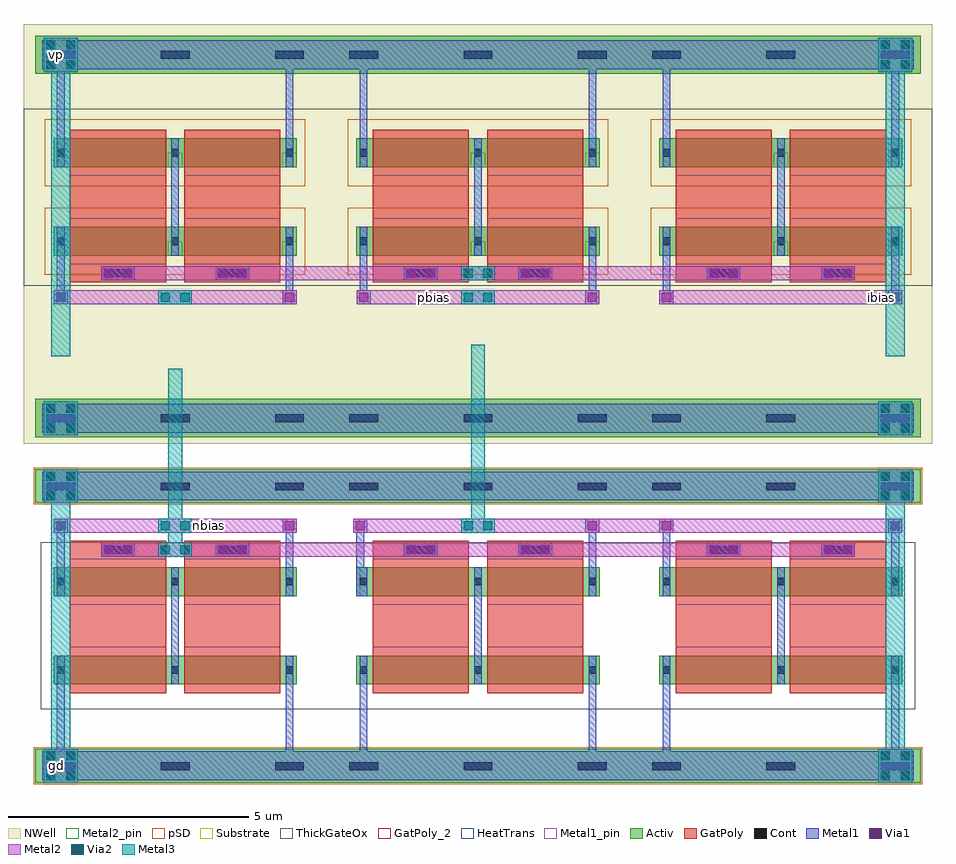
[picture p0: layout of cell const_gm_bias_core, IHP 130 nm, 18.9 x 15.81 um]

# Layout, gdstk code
import gdstk
lib = gdstk.Library(unit=1e-6, precision=1e-09)
def R(c, l, rs):  # rectangles x0, y0, x1, y1
    for r in rs: c.add(gdstk.rectangle(r[:2], r[2:], *l))
def A(c, l, x, y, w, h, nx, ny, dx, dy):  # array of equal rectangles
    R(c, l, [(x+i*dx, y+j*dy, x+i*dx+w, y+j*dy+h) for i in range(nx) for j in range(ny)])
Activ = (1, 0)
GatPoly = (5, 0)
GatPoly_2 = (5, 2)
Cont = (6, 0)
Metal1 = (8, 0)
Metal1_pin = (8, 2)
Metal2 = (10, 0)
Metal2_pin = (10, 2)
pSD = (14, 0)
Via1 = (19, 0)
Via2 = (29, 0)
Metal3 = (30, 0)
NWell = (31, 0)
Substrate = (40, 0)
ThickGateOx = (44, 0)
HeatTrans = (51, 0)

pmoshv_6 = lib.new_cell('pmosHV$6')
R(pmoshv_6, Activ, [(0,0,0.3,0.3), (0,0,2.68,0.6), (2.38,0,2.68,0.3)])
R(pmoshv_6, GatPoly, [(0.34,-0.18,2.34,0.78)])
R(pmoshv_6, GatPoly_2, [(0.34,-0.18,2.34,0.78)])
R(pmoshv_6, Cont, [(0.07,0.22,0.23,0.38), (2.45,0.22,2.61,0.38)])
R(pmoshv_6, Metal1, [(0.07,0,0.23,0.6), (2.45,0,2.61,0.6)])
R(pmoshv_6, Metal1_pin, [(0.07,0,0.23,0.6), (2.45,0,2.61,0.6)])
R(pmoshv_6, pSD, [(-0.18,-0.4,2.86,1)])
R(pmoshv_6, NWell, [(-0.62,-0.62,3.3,1.22)])
R(pmoshv_6, Substrate, [(2.38,0,2.68,0.3)])
R(pmoshv_6, ThickGateOx, [(-0.62,-0.62,3.3,1.22)])
R(pmoshv_6, HeatTrans, [(0.34,-0.18,2.34,0.78)])
pmoshv_6.add(gdstk.Label('pmosHV', (1.34,0.3), layer=63, texttype=0))
pmoshv_6.add(gdstk.Label('pmos', (1.34,0.3), layer=51, texttype=0))

nmoshv_6 = lib.new_cell('nmosHV$6')
R(nmoshv_6, Activ, [(0,0,0.3,0.3), (0,0,2.68,0.6), (2.38,0,2.68,0.3)])
R(nmoshv_6, GatPoly, [(0.34,-0.18,2.34,0.78)])
R(nmoshv_6, GatPoly_2, [(0.34,-0.18,2.34,0.78)])
R(nmoshv_6, Cont, [(0.07,0.22,0.23,0.38), (2.45,0.22,2.61,0.38)])
R(nmoshv_6, Metal1, [(0.07,0,0.23,0.6), (2.45,0,2.61,0.6)])
R(nmoshv_6, Metal1_pin, [(0.07,0,0.23,0.6), (2.45,0,2.61,0.6)])
R(nmoshv_6, ThickGateOx, [(-0.27,-0.52,2.95,1.12)])
R(nmoshv_6, HeatTrans, [(0.34,-0.18,2.34,0.78)])
nmoshv_6.add(gdstk.Label('nmosHV', (1.34,0.3), layer=63, texttype=0))
nmoshv_6.add(gdstk.Label('nmosHV', (1.34,0.3), layer=51, texttype=0))

via_stack = lib.new_cell('via_stack')
R(via_stack, Metal1, [(-0.35,-0.145,0.35,0.145)])
R(via_stack, Metal2, [(-0.35,-0.145,0.35,0.145)])
R(via_stack, Via1, [(-0.3,-0.095,-0.11,0.095), (0.11,-0.095,0.3,0.095)])

via_stack_1 = lib.new_cell('via_stack$1')
R(via_stack_1, Metal1, [(-0.145,-0.145,0.145,0.145)])
R(via_stack_1, Metal2, [(-0.145,-0.145,0.145,0.145)])
R(via_stack_1, Via1, [(-0.095,-0.095,0.095,0.095)])

via_stack_2 = lib.new_cell('via_stack$2')
R(via_stack_2, Metal2, [(-0.35,-0.145,0.35,0.145)])
R(via_stack_2, Via2, [(-0.3,-0.095,-0.11,0.095), (0.11,-0.095,0.3,0.095)])
R(via_stack_2, Metal3, [(-0.35,-0.145,0.35,0.145)])

via_stack_4 = lib.new_cell('via_stack$4')
R(via_stack_4, Metal1, [(-0.35,-0.35,0.35,0.35)])
R(via_stack_4, Metal2, [(-0.35,-0.35,0.35,0.35)])
R(via_stack_4, Via1, [(-0.3,-0.3,-0.11,-0.11), (0.11,-0.3,0.3,-0.11), (-0.3,0.11,-0.11,0.3), (0.11,0.11,0.3,0.3)])
R(via_stack_4, Via2, [(-0.3,-0.3,-0.11,-0.11), (0.11,-0.3,0.3,-0.11), (-0.3,0.11,-0.11,0.3), (0.11,0.11,0.3,0.3)])
R(via_stack_4, Metal3, [(-0.35,-0.35,0.35,0.35)])

const_gm_bias_core = lib.new_cell('const_gm_bias_core')
A(const_gm_bias_core, Cont, 0.47, -1.33, 0.6, 0.16, 3, 2, 2.38, 5.82)
A(const_gm_bias_core, Cont, 6.77, -1.33, 0.6, 0.16, 3, 2, 2.38, 5.82)
A(const_gm_bias_core, Cont, 13.07, -1.33, 0.6, 0.16, 3, 2, 2.38, 5.82)
A(const_gm_bias_core, Cont, 0.47, 5.91, 0.6, 0.16, 3, 2, 2.38, 7.56)
A(const_gm_bias_core, Cont, 6.77, 5.91, 0.6, 0.16, 3, 2, 2.38, 7.56)
A(const_gm_bias_core, Cont, 13.07, 5.91, 0.6, 0.16, 3, 2, 2.38, 7.56)
R(const_gm_bias_core, Cont, [(1.66,3.17,2.26,3.33), (4.04,3.17,4.64,3.33), (7.96,3.17,8.56,3.33), (10.34,3.17,10.94,3.33), (14.26,3.17,14.86,3.33), (16.64,3.17,17.24,3.33), (1.66,8.925,2.26,9.085), (4.04,8.925,4.64,9.085), (7.96,8.925,8.56,9.085), (10.34,8.925,10.94,9.085), (14.26,8.925,14.86,9.085), (16.64,8.925,17.24,9.085)])
R(const_gm_bias_core, Metal1_pin, [(0.39,-1.54,0.99,-0.94), (0.39,13.25,0.99,13.85)])
R(const_gm_bias_core, Metal2_pin, [(17.695,8.36,17.985,8.65)])
R(const_gm_bias_core, NWell, [(0,5.46,18.9,8.75), (0,12.43,18.9,14.19)])
R(const_gm_bias_core, ThickGateOx, [(0.35,-0.07,18.55,3.41)])
const_gm_bias_core.add(gdstk.FlexPath([(0.24,13.55),(18.66,13.55)], 0.8, ends="flush", simple_path=True, layer=1, datatype=0))  # Activ
const_gm_bias_core.add(gdstk.FlexPath([(0.24,4.58),(18.66,4.58)], 0.7, ends="flush", simple_path=True, layer=1, datatype=0))  # Activ
const_gm_bias_core.add(gdstk.FlexPath([(0.24,-1.24),(18.66,-1.24)], 0.7, ends="flush", simple_path=True, layer=1, datatype=0))  # Activ
const_gm_bias_core.add(gdstk.FlexPath([(0.24,5.99),(18.66,5.99)], 0.8, ends="flush", simple_path=True, layer=1, datatype=0))  # Activ
const_gm_bias_core.add(gdstk.FlexPath([(16.94,11.99),(16.94,8.82)], 2, ends="flush", simple_path=True, layer=5, datatype=0))  # GatPoly
const_gm_bias_core.add(gdstk.FlexPath([(14.56,11.99),(14.56,8.82)], 2, ends="flush", simple_path=True, layer=5, datatype=0))  # GatPoly
const_gm_bias_core.add(gdstk.FlexPath([(10.64,11.99),(10.64,8.82)], 2, ends="flush", simple_path=True, layer=5, datatype=0))  # GatPoly
const_gm_bias_core.add(gdstk.FlexPath([(8.26,11.99),(8.26,8.82)], 2, ends="flush", simple_path=True, layer=5, datatype=0))  # GatPoly
const_gm_bias_core.add(gdstk.FlexPath([(4.34,11.99),(4.34,8.82)], 2, ends="flush", simple_path=True, layer=5, datatype=0))  # GatPoly
const_gm_bias_core.add(gdstk.FlexPath([(1.96,11.99),(1.96,8.82)], 2, ends="flush", simple_path=True, layer=5, datatype=0))  # GatPoly
const_gm_bias_core.add(gdstk.FlexPath([(16.94,0.27),(16.94,3.44)], 2, ends="flush", simple_path=True, layer=5, datatype=0))  # GatPoly
const_gm_bias_core.add(gdstk.FlexPath([(14.56,0.27),(14.56,3.44)], 2, ends="flush", simple_path=True, layer=5, datatype=0))  # GatPoly
const_gm_bias_core.add(gdstk.FlexPath([(10.64,0.27),(10.64,3.44)], 2, ends="flush", simple_path=True, layer=5, datatype=0))  # GatPoly
const_gm_bias_core.add(gdstk.FlexPath([(8.26,0.27),(8.26,3.44)], 2, ends="flush", simple_path=True, layer=5, datatype=0))  # GatPoly
const_gm_bias_core.add(gdstk.FlexPath([(4.34,0.27),(4.34,3.44)], 2, ends="flush", simple_path=True, layer=5, datatype=0))  # GatPoly
const_gm_bias_core.add(gdstk.FlexPath([(1.96,0.27),(1.96,3.44)], 2, ends="flush", simple_path=True, layer=5, datatype=0))  # GatPoly
const_gm_bias_core.add(gdstk.FlexPath([(3.15,11.81),(3.15,9.37)], 0.16, ends="flush", simple_path=True, layer=8, datatype=0))  # Metal1
const_gm_bias_core.add(gdstk.FlexPath([(9.45,11.81),(9.45,9.37)], 0.16, ends="flush", simple_path=True, layer=8, datatype=0))  # Metal1
const_gm_bias_core.add(gdstk.FlexPath([(3.15,2.89),(3.15,0.45)], 0.16, ends="flush", simple_path=True, layer=8, datatype=0))  # Metal1
const_gm_bias_core.add(gdstk.FlexPath([(9.45,2.89),(9.45,0.45)], 0.16, ends="flush", simple_path=True, layer=8, datatype=0))  # Metal1
const_gm_bias_core.add(gdstk.FlexPath([(15.75,2.89),(15.75,0.45)], 0.16, ends="flush", simple_path=True, layer=8, datatype=0))  # Metal1
const_gm_bias_core.add(gdstk.FlexPath([(0.77,9.97),(0.77,8.36)], 0.16, ends="flush", simple_path=True, layer=8, datatype=0))  # Metal1
const_gm_bias_core.add(gdstk.FlexPath([(5.53,9.97),(5.53,8.36)], 0.16, ends="flush", simple_path=True, layer=8, datatype=0))  # Metal1
const_gm_bias_core.add(gdstk.FlexPath([(7.07,9.97),(7.07,8.36)], 0.16, ends="flush", simple_path=True, layer=8, datatype=0))  # Metal1
const_gm_bias_core.add(gdstk.FlexPath([(11.83,9.97),(11.83,8.36)], 0.16, ends="flush", simple_path=True, layer=8, datatype=0))  # Metal1
const_gm_bias_core.add(gdstk.FlexPath([(15.75,11.81),(15.75,9.37)], 0.16, ends="flush", simple_path=True, layer=8, datatype=0))  # Metal1
const_gm_bias_core.add(gdstk.FlexPath([(13.37,9.97),(13.37,8.36)], 0.16, ends="flush", simple_path=True, layer=8, datatype=0))  # Metal1
const_gm_bias_core.add(gdstk.FlexPath([(18.13,9.97),(18.13,8.36)], 0.16, ends="flush", simple_path=True, layer=8, datatype=0))  # Metal1
const_gm_bias_core.add(gdstk.FlexPath([(0.39,13.55),(18.51,13.55)], 0.6, ends="flush", simple_path=True, layer=8, datatype=0))  # Metal1
const_gm_bias_core.add(gdstk.FlexPath([(0.77,11.21),(0.77,13.85)], 0.16, ends="flush", simple_path=True, layer=8, datatype=0))  # Metal1
const_gm_bias_core.add(gdstk.FlexPath([(5.53,11.21),(5.53,13.85)], 0.16, ends="flush", simple_path=True, layer=8, datatype=0))  # Metal1
const_gm_bias_core.add(gdstk.FlexPath([(7.07,11.21),(7.07,13.85)], 0.16, ends="flush", simple_path=True, layer=8, datatype=0))  # Metal1
const_gm_bias_core.add(gdstk.FlexPath([(11.83,11.21),(11.83,13.85)], 0.16, ends="flush", simple_path=True, layer=8, datatype=0))  # Metal1
const_gm_bias_core.add(gdstk.FlexPath([(13.37,11.21),(13.37,13.85)], 0.16, ends="flush", simple_path=True, layer=8, datatype=0))  # Metal1
const_gm_bias_core.add(gdstk.FlexPath([(18.13,11.21),(18.13,13.85)], 0.16, ends="flush", simple_path=True, layer=8, datatype=0))  # Metal1
const_gm_bias_core.add(gdstk.FlexPath([(0.77,2.29),(0.77,3.9)], 0.16, ends="flush", simple_path=True, layer=8, datatype=0))  # Metal1
const_gm_bias_core.add(gdstk.FlexPath([(5.53,2.29),(5.53,3.9)], 0.16, ends="flush", simple_path=True, layer=8, datatype=0))  # Metal1
const_gm_bias_core.add(gdstk.FlexPath([(7,2.29),(7,3.9)], 0.16, ends="flush", simple_path=True, layer=8, datatype=0))  # Metal1
const_gm_bias_core.add(gdstk.FlexPath([(11.83,2.29),(11.83,3.9)], 0.16, ends="flush", simple_path=True, layer=8, datatype=0))  # Metal1
const_gm_bias_core.add(gdstk.FlexPath([(13.37,2.29),(13.37,3.9)], 0.16, ends="flush", simple_path=True, layer=8, datatype=0))  # Metal1
const_gm_bias_core.add(gdstk.FlexPath([(18.13,2.29),(18.13,3.9)], 0.16, ends="flush", simple_path=True, layer=8, datatype=0))  # Metal1
const_gm_bias_core.add(gdstk.FlexPath([(0.39,4.58),(18.51,4.58)], 0.6, ends="flush", simple_path=True, layer=8, datatype=0))  # Metal1
const_gm_bias_core.add(gdstk.FlexPath([(0.39,-1.24),(18.51,-1.24)], 0.6, ends="flush", simple_path=True, layer=8, datatype=0))  # Metal1
const_gm_bias_core.add(gdstk.FlexPath([(0.77,1.05),(0.77,-1.54)], 0.16, ends="flush", simple_path=True, layer=8, datatype=0))  # Metal1
const_gm_bias_core.add(gdstk.FlexPath([(5.53,1.05),(5.53,-1.54)], 0.16, ends="flush", simple_path=True, layer=8, datatype=0))  # Metal1
const_gm_bias_core.add(gdstk.FlexPath([(7.07,1.05),(7.07,-1.54)], 0.16, ends="flush", simple_path=True, layer=8, datatype=0))  # Metal1
const_gm_bias_core.add(gdstk.FlexPath([(11.83,1.05),(11.83,-1.54)], 0.16, ends="flush", simple_path=True, layer=8, datatype=0))  # Metal1
const_gm_bias_core.add(gdstk.FlexPath([(13.37,1.05),(13.37,-1.54)], 0.16, ends="flush", simple_path=True, layer=8, datatype=0))  # Metal1
const_gm_bias_core.add(gdstk.FlexPath([(18.13,1.05),(18.13,-1.54)], 0.16, ends="flush", simple_path=True, layer=8, datatype=0))  # Metal1
const_gm_bias_core.add(gdstk.FlexPath([(0.39,5.99),(18.51,5.99)], 0.6, ends="flush", simple_path=True, layer=8, datatype=0))  # Metal1
const_gm_bias_core.add(gdstk.FlexPath([(0.21,4.58),(18.69,4.58)], 0.76, ends="flush", simple_path=True, layer=14, datatype=0))  # pSD
const_gm_bias_core.add(gdstk.FlexPath([(0.21,-1.24),(18.69,-1.24)], 0.76, ends="flush", simple_path=True, layer=14, datatype=0))  # pSD
const_gm_bias_core.add(gdstk.FlexPath([(1.61,9.005),(17.29,9.005)], 0.29, ends="flush", simple_path=True, layer=10, datatype=0))  # Metal2
const_gm_bias_core.add(gdstk.FlexPath([(1.61,3.25),(17.29,3.25)], 0.29, ends="flush", simple_path=True, layer=10, datatype=0))  # Metal2
const_gm_bias_core.add(gdstk.FlexPath([(0.625,8.505),(5.675,8.505)], 0.29, ends="flush", simple_path=True, layer=10, datatype=0))  # Metal2
const_gm_bias_core.add(gdstk.FlexPath([(6.925,8.505),(11.975,8.505)], 0.29, ends="flush", simple_path=True, layer=10, datatype=0))  # Metal2
const_gm_bias_core.add(gdstk.FlexPath([(13.225,8.505),(18.275,8.505)], 0.29, ends="flush", simple_path=True, layer=10, datatype=0))  # Metal2
const_gm_bias_core.add(gdstk.FlexPath([(0.625,3.755),(5.675,3.755)], 0.29, ends="flush", simple_path=True, layer=10, datatype=0))  # Metal2
const_gm_bias_core.add(gdstk.FlexPath([(6.855,3.755),(18.275,3.755)], 0.29, ends="flush", simple_path=True, layer=10, datatype=0))  # Metal2
const_gm_bias_core.add(gdstk.FlexPath([(3.15,3.105),(3.15,7.02)], 0.29, ends="flush", simple_path=True, layer=30, datatype=0))  # Metal3
const_gm_bias_core.add(gdstk.FlexPath([(9.45,3.61),(9.45,7.52)], 0.29, ends="flush", simple_path=True, layer=30, datatype=0))  # Metal3
const_gm_bias_core.add(gdstk.FlexPath([(0.77,-1.59),(0.77,4.93)], 0.4, ends="flush", simple_path=True, layer=30, datatype=0))  # Metal3
const_gm_bias_core.add(gdstk.FlexPath([(18.13,-1.59),(18.13,4.93)], 0.4, ends="flush", simple_path=True, layer=30, datatype=0))  # Metal3
const_gm_bias_core.add(gdstk.FlexPath([(18.13,7.28),(18.13,13.8)], 0.4, ends="flush", simple_path=True, layer=30, datatype=0))  # Metal3
const_gm_bias_core.add(gdstk.FlexPath([(0.77,7.28),(0.77,13.8)], 0.4, ends="flush", simple_path=True, layer=30, datatype=0))  # Metal3
const_gm_bias_core.add(gdstk.Reference(pmoshv_6, (0.62,11.21)))
const_gm_bias_core.add(gdstk.Reference(pmoshv_6, (0.62,9.37)))
const_gm_bias_core.add(gdstk.Reference(pmoshv_6, (3,11.21)))
const_gm_bias_core.add(gdstk.Reference(pmoshv_6, (3,9.37)))
const_gm_bias_core.add(gdstk.Reference(pmoshv_6, (6.92,11.21)))
const_gm_bias_core.add(gdstk.Reference(pmoshv_6, (6.92,9.37)))
const_gm_bias_core.add(gdstk.Reference(pmoshv_6, (9.3,11.21)))
const_gm_bias_core.add(gdstk.Reference(pmoshv_6, (9.3,9.37)))
const_gm_bias_core.add(gdstk.Reference(pmoshv_6, (13.22,11.21)))
const_gm_bias_core.add(gdstk.Reference(pmoshv_6, (13.22,9.37)))
const_gm_bias_core.add(gdstk.Reference(pmoshv_6, (15.6,11.21)))
const_gm_bias_core.add(gdstk.Reference(pmoshv_6, (15.6,9.37)))
const_gm_bias_core.add(gdstk.Reference(nmoshv_6, (0.62,2.29)))
const_gm_bias_core.add(gdstk.Reference(nmoshv_6, (3,2.29)))
const_gm_bias_core.add(gdstk.Reference(nmoshv_6, (3,0.45)))
const_gm_bias_core.add(gdstk.Reference(nmoshv_6, (6.92,2.29)))
const_gm_bias_core.add(gdstk.Reference(nmoshv_6, (6.92,0.45)))
const_gm_bias_core.add(gdstk.Reference(nmoshv_6, (9.3,2.29)))
const_gm_bias_core.add(gdstk.Reference(nmoshv_6, (9.3,0.45)))
const_gm_bias_core.add(gdstk.Reference(nmoshv_6, (13.22,2.29)))
const_gm_bias_core.add(gdstk.Reference(nmoshv_6, (13.22,0.45)))
const_gm_bias_core.add(gdstk.Reference(nmoshv_6, (15.6,2.29)))
const_gm_bias_core.add(gdstk.Reference(nmoshv_6, (15.6,0.45)))
const_gm_bias_core.add(gdstk.Reference(via_stack, (16.94,9.005), x_reflection=True))
const_gm_bias_core.add(gdstk.Reference(via_stack, (14.56,9.005), x_reflection=True))
const_gm_bias_core.add(gdstk.Reference(via_stack, (10.64,9.005), x_reflection=True))
const_gm_bias_core.add(gdstk.Reference(via_stack, (8.26,9.005), x_reflection=True))
const_gm_bias_core.add(gdstk.Reference(via_stack, (4.34,9.005), x_reflection=True))
const_gm_bias_core.add(gdstk.Reference(via_stack, (1.96,9.005), x_reflection=True))
const_gm_bias_core.add(gdstk.Reference(via_stack, (16.94,3.25)))
const_gm_bias_core.add(gdstk.Reference(via_stack, (14.56,3.25)))
const_gm_bias_core.add(gdstk.Reference(via_stack, (10.64,3.25)))
const_gm_bias_core.add(gdstk.Reference(via_stack, (8.26,3.25)))
const_gm_bias_core.add(gdstk.Reference(via_stack, (4.34,3.25)))
const_gm_bias_core.add(gdstk.Reference(via_stack, (1.96,3.25)))
const_gm_bias_core.add(gdstk.Reference(nmoshv_6, (0.62,0.45)))
const_gm_bias_core.add(gdstk.Reference(via_stack_1, (0.77,8.505)))
const_gm_bias_core.add(gdstk.Reference(via_stack_1, (5.53,8.505)))
const_gm_bias_core.add(gdstk.Reference(via_stack_1, (7.07,8.505)))
const_gm_bias_core.add(gdstk.Reference(via_stack_1, (11.83,8.505)))
const_gm_bias_core.add(gdstk.Reference(via_stack_1, (13.37,8.505)))
const_gm_bias_core.add(gdstk.Reference(via_stack_1, (18.13,8.505)))
const_gm_bias_core.add(gdstk.Reference(via_stack_1, (0.77,3.755)))
const_gm_bias_core.add(gdstk.Reference(via_stack_1, (5.53,3.755)))
const_gm_bias_core.add(gdstk.Reference(via_stack_1, (7,3.755)))
const_gm_bias_core.add(gdstk.Reference(via_stack_1, (11.83,3.755)))
const_gm_bias_core.add(gdstk.Reference(via_stack_1, (13.37,3.755)))
const_gm_bias_core.add(gdstk.Reference(via_stack_1, (18.13,3.755)))
const_gm_bias_core.add(gdstk.Reference(via_stack_2, (3.15,8.505)))
const_gm_bias_core.add(gdstk.Reference(via_stack_2, (3.15,3.755)))
const_gm_bias_core.add(gdstk.Reference(via_stack_2, (9.45,8.505)))
const_gm_bias_core.add(gdstk.Reference(via_stack_2, (9.45,3.755)))
const_gm_bias_core.add(gdstk.Reference(via_stack_2, (3.15,3.25)))
const_gm_bias_core.add(gdstk.Reference(via_stack_2, (9.45,9.005)))
const_gm_bias_core.add(gdstk.Reference(via_stack_4, (0.77,4.58)))
const_gm_bias_core.add(gdstk.Reference(via_stack_4, (0.77,-1.24)))
const_gm_bias_core.add(gdstk.Reference(via_stack_4, (18.13,4.58)))
const_gm_bias_core.add(gdstk.Reference(via_stack_4, (18.13,-1.24)))
const_gm_bias_core.add(gdstk.Reference(via_stack_4, (18.13,13.55)))
const_gm_bias_core.add(gdstk.Reference(via_stack_4, (0.77,13.55)))
const_gm_bias_core.add(gdstk.Reference(via_stack_4, (0.77,5.99)))
const_gm_bias_core.add(gdstk.Reference(via_stack_4, (18.13,5.99)))
const_gm_bias_core.add(gdstk.Label('nbias', (3.85,3.755), layer=10, texttype=25))
const_gm_bias_core.add(gdstk.Label('pbias', (8.521,8.501), layer=10, texttype=25))
const_gm_bias_core.add(gdstk.Label('ibias', (17.84,8.505), layer=10, texttype=25))
const_gm_bias_core.add(gdstk.Label('vp', (0.69,13.55), layer=8, texttype=25))
const_gm_bias_core.add(gdstk.Label('gd', (0.69,-1.24), layer=8, texttype=25))

lib.write_gds('const_gm_bias_core.gds')
